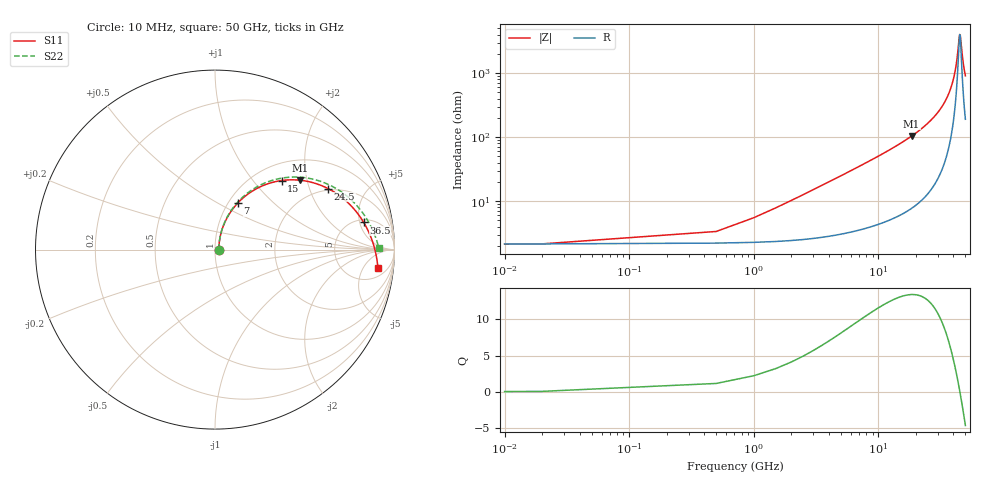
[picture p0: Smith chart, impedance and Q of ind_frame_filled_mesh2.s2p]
! Created with skrf 2.2.0 (http://scikit-rf.org).
# GHz S DB R 50.0
! Port[1] = P1
! Port[2] = P2
!freq dBS11 angS11 dBS21 angS21 dBS12 angS12 dBS22 angS22
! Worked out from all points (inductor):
!   102 points, 10 MHz to 50 GHz, reference 50 ohm
!   read as 1/Y11, port 2 shorted: L = 791 pH near 1.5 GHz
!   highest Q = 13.5 at 18.5 GHz (marker M1), where L = 893 pH
!   self-resonance near 45 GHz
!   S11 on the Smith chart (normalised r, x): 10 MHz: 1.04, +0.00; 7 GHz: 1.11, +0.63; 15 GHz: 1.31, +1.41; 24.5 GHz: 1.94, +2.70; 36.5 GHz: 5.55, +5.78; 50 GHz: 9, -11
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0.01  -33.56 1.2  -0.18 -0.0  -0.18 -0.0  -33.56 1.3
0.5  -30.19 44.5  -0.19 -1.6  -0.19 -1.6  -30.19 44.5
1  -26.16 60.7  -0.21 -3.1  -0.21 -3.1  -26.16 60.8
1.5  -23.15 66.9  -0.23 -4.6  -0.23 -4.6  -23.15 67.1
2  -20.87 69.6  -0.25 -6.1  -0.25 -6.1  -20.87 69.7
2.5  -19.05 70.5  -0.28 -7.6  -0.28 -7.6  -19.06 70.8
3.5  -16.30 70.4  -0.35 -10.4  -0.35 -10.4  -16.30 70.8
4.5  -14.26 69.0  -0.43 -13.3  -0.43 -13.3  -14.26 69.5
5.5  -12.65 67.1  -0.52 -16.0  -0.52 -16.0  -12.66 67.7
7  -10.77 63.9  -0.69 -20.1  -0.69 -20.1  -10.78 64.7
8.5  -9.30 60.5  -0.87 -24.0  -0.87 -24.0  -9.31 61.5
11.5  -7.16 53.7  -1.31 -31.3  -1.31 -31.3  -7.17 55.0
15  -5.45 46.1  -1.89 -39.2  -1.89 -39.2  -5.46 47.9
17  -4.71 42.0  -2.26 -43.4  -2.26 -43.4  -4.73 44.0
18.5  -4.25 39.0  -2.54 -46.3  -2.54 -46.3  -4.26 41.3
24.5  -2.89 28.3  -3.72 -57.1  -3.72 -57.1  -2.91 31.3
25.5  -2.73 26.6  -3.92 -58.8  -3.92 -58.8  -2.74 29.8
29.5  -2.17 20.3  -4.73 -65.0  -4.73 -65.0  -2.18 24.0
33.5  -1.74 14.5  -5.56 -70.7  -5.56 -70.7  -1.75 18.8
36.5  -1.49 10.4  -6.19 -74.7  -6.19 -74.7  -1.50 15.1
42  -1.14 3.2  -7.36 -81.5  -7.36 -81.5  -1.15 8.8
50  -0.79 -6.5  -9.12 -90.6  -9.12 -90.6  -0.79 0.5
